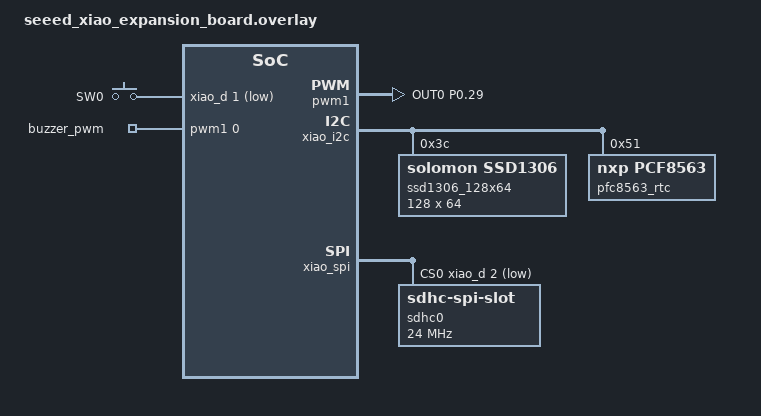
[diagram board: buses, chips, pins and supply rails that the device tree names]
/*
 * Copyright (c) 2024 Charles Dias <charlesdias.cd@outlook.com>
 * SPDX-License-Identifier: Apache-2.0
 */

#include <zephyr/dt-bindings/input/input-event-codes.h>
#include <zephyr/dt-bindings/pwm/pwm.h>

&pinctrl {
	pwm1_default: pwm1_default {
		group1 {
			/* D3 = GPIO0 pin 29 */
			psels = <NRF_PSEL(PWM_OUT0, 0, 29)>;
		};
	};

	pwm1_sleep: pwm1_sleep {
		group1 {
			psels = <NRF_PSEL(PWM_OUT0, 0, 29)>;
			low-power-enable;
		};
	};
};

&pwm1 {
	status = "okay";
	pinctrl-0 = <&pwm1_default>;
	pinctrl-1 = <&pwm1_sleep>;
	pinctrl-names = "default", "sleep";
};

/ {
	chosen {
		zephyr,display = &ssd1306_128x64;
		zephyr,rtc = &pfc8563_rtc;
	};

	buttons {
		compatible = "gpio-keys";

		xiao_button0: button_0 {
			gpios = <&xiao_d 1 (GPIO_PULL_UP | GPIO_ACTIVE_LOW)>;
			label = "SW0";
			zephyr,code = <INPUT_KEY_0>;
		};
	};

	pwm_buzzer: pwm_buzzer {
		compatible = "pwm-leds";

		buzzer_pwm: buzzer_pwm {
			/* 4kHz: period = 250us */
			pwms = <&pwm1 0 PWM_HZ(4000) PWM_POLARITY_NORMAL>;
		};
	};

	aliases {
		sw0 = &xiao_button0;
		rtc = &pfc8563_rtc;
		buzzer = &buzzer_pwm;
	};
};

&xiao_i2c {
	status = "okay";

	ssd1306_128x64: ssd1306@3c {
		compatible = "solomon,ssd1306";
		reg = <0x3c>;
		width = <128>;
		height = <64>;
		segment-offset = <0>;
		page-offset = <0>;
		display-offset = <0>;
		multiplex-ratio = <63>;
		segment-remap;
		com-invdir;
		inversion-on;
		prechargep = <0x22>;
	};

	pfc8563_rtc: pfc8563@51 {
		compatible = "nxp,pcf8563";
		reg = <0x51>;
		status = "okay";
	};
};

&xiao_spi {
	status = "okay";
	cs-gpios = <&xiao_d 2 GPIO_ACTIVE_LOW>;

	sdhc0: sdhc@0 {
		compatible = "zephyr,sdhc-spi-slot";
		reg = <0>;
		status = "okay";

		mmc {
			compatible = "zephyr,sdmmc-disk";
			disk-name = "SD";
			status = "okay";
		};

		spi-max-frequency = <24000000>;
	};
};
